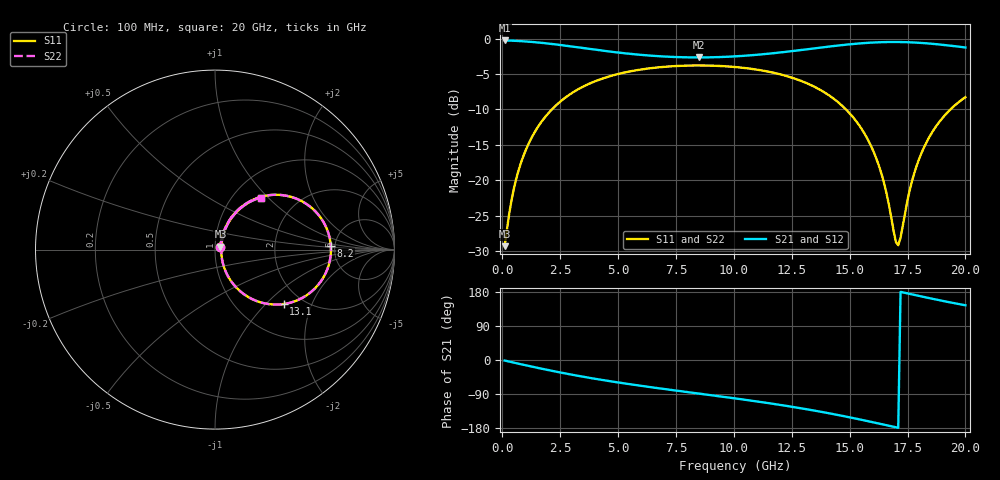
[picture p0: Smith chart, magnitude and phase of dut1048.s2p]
! Touchstone file exported from HFSS 2026.1.0
!  File:  C:/ffzhzh/LocalFiles/Ansys_Project_Files/temp_train_TSV_RDL_1048_1783296390_38820.aedt
!  Generated:  08:18:35 AM Jul  6, 2026
!  Design:  TSV_RDL
!  Project:  temp_train_TSV_RDL_1048_1783296390_38820
! Variables:
!  h_bsmrdl = 2.72um
!  h_ox = 20um
!  h_rdl = 5um
!  h_sub = 78.64um
!  h_tmrdl = 4.37um
!  h_tsv = 78.64um
!  h_via = 3um
!  l_bsmrdl = 643.66um
!  l_sub = 3498.8um
!  l_tmrdl = 272.68um
!  m_sub = 200um
!  pitch = 43.61um
!  r_tsv = 3.55um
!  s_tmrdl = 10um
!  w_bsmrdl = 14.05um
!  w_sub = 500um
!  w_tmrdl = 11.65um
!  x_tsv_center1 = 278.505um
!  x_tsv_center2 = 936.215um
!  x_tsv_center3 = 1220.545um
!  x_tsv_center4 = 1878.255um
!  x_tsv_center5 = 2162.585um
!  x_tsv_center6 = 2820.295um
# GHz S MA R 50.000000
! Terminal data exported
! Port[1] = TM_RDL1_1_T1
! Port[2] = TM_RDL5_1_T1
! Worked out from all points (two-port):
!   200 points, 100 MHz to 20 GHz, reference 50 ohm
!   highest |S21| = -0.26 dB at 100 MHz (marker M1); lowest = -2.7 dB at 8.5 GHz (marker M2)
!   |S21| within 3 dB of the highest: start of sweep to end of sweep
!   lowest |S11| = -29.3 dB at 100 MHz (marker M3), VSWR 1.07, Z = 53.1 + j1.69 ohm
!   |S11| at or under -10 dB: start of sweep to 2.143 GHz; 14.84 GHz to 19.36 GHz (4.517 GHz wide, 26.4 % of centre)
!   |S22| runs from -29.3 to -3.8 dB; largest |S21 - S12| = 1.7e-14
!   S11 on the Smith chart (normalised r, x): 100 MHz: 1.06, +0.03; 8.2 GHz: 4.61, +0.36; 13.1 GHz: 1.61, -1.28; 20 GHz: 1.33, +0.91
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0.1  0.03417 27.7  0.97 -1.4  0.97 -1.4  0.03417 27.7
! Gamma 0 0 0 0
! Port Impedance 50 0 50 0
0.4  0.07242 59.0  0.9669 -5.6  0.9669 -5.6  0.07242 59.0
0.6  0.102 63.4  0.9635 -8.4  0.9635 -8.4  0.102 63.4
1.2  0.19 63.6  0.9493 -16.5  0.9493 -16.5  0.19 63.6
2.2  0.3233 54.9  0.9138 -29.3  0.9138 -29.3  0.3233 54.9
3.5  0.4586 41.8  0.857 -44.3  0.857 -44.3  0.4586 41.8
6.8  0.6277 12.8  0.7501 -75.0  0.7501 -75.0  0.6277 12.8
8.2  0.6454 2.0  0.7363 -86.3  0.7363 -86.3  0.6454 2.0
8.5  0.6459 -0.3  0.736 -88.7  0.736 -88.7  0.6459 -0.3
10.1  0.6288 -12.6  0.7496 -101.7  0.7496 -101.7  0.6288 -12.6
13.1  0.4878 -38.5  0.8378 -129.4  0.8378 -129.4  0.4878 -38.5
13.4  0.4635 -41.3  0.8497 -132.6  0.8497 -132.6  0.4635 -41.3
14.6  0.3444 -53.2  0.8969 -146.4  0.8969 -146.4  0.3444 -53.2
15.5  0.2325 -61.3  0.9262 -157.6  0.9262 -157.6  0.2325 -61.3
16.2  0.1356 -64.0  0.941 -166.8  0.941 -166.8  0.1357 -64.0
16.7  0.06661 -54.0  0.9458 -173.5  0.9458 -173.5  0.06664 -54.0
17  0.03652 -18.0  0.9462 -177.6  0.9462 -177.6  0.03657 -17.9
17.1  0.03474 5.0  0.9459 -178.9  0.9459 -178.9  0.03479 5.0
17.7  0.09922 61.3  0.9397 173.0  0.9397 173.0  0.09924 61.2
18.2  0.1686 63.4  0.9292 166.4  0.9292 166.4  0.1686 63.4
19  0.2736 58.1  0.9043 156.2  0.9043 156.2  0.2736 58.1
20  0.3856 48.8  0.865 144.3  0.865 144.3  0.3856 48.8
